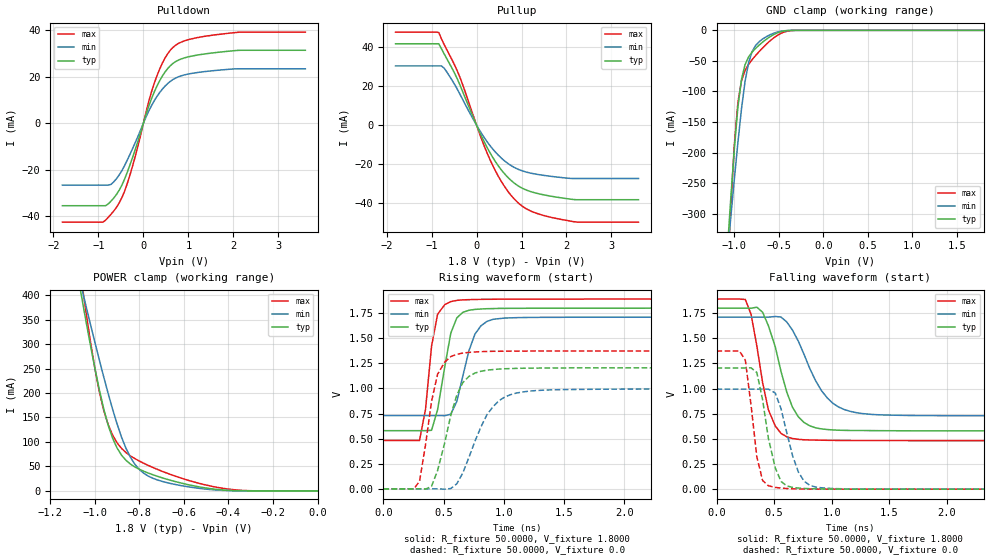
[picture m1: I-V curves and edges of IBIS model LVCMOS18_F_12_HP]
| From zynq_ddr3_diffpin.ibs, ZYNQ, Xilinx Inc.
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[Model]  LVCMOS18_F_12_HP
Model_type I/O
Polarity   Non-Inverting
Enable   Active-Low
Vinl =   0.5400V
Vinh =   1.2600V
Vmeas =  0.9000V
Cref =   0.0F
Rref =   1.0000M
Vref =   0.0V
C_comp   4.6671pF   4.6649pF   4.6673pF
[Temperature Range]   25.0000   85.0000   0.0
[Voltage Range]   1.8000V   1.7100V   1.8900V
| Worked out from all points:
|   slope of the pulldown table from 0 to 0.27 V, typ, clamps not added: 18.4 ohm
|   slope of the pullup table from 0 to 0.27 V, typ, clamps not added: 20.9 ohm
|   GND clamp passes 1 mA (typ) near -0.44 V on its own axis
|   POWER clamp passes 1 mA (typ) near -0.39 V on its own axis
|   rising waveform, R_fixture 50.0000, V_fixture 1.8000: 20-80 % time 107ps typ, 131ps min, 84.1ps max; typ from 0.579 V to 1.8 V
|   rising waveform, R_fixture 50.0000, V_fixture 0.0: 20-80 % time 159ps typ, 223ps min, 115ps max; typ from 0 V to 1.21 V
|   falling waveform, R_fixture 50.0000, V_fixture 1.8000: 20-80 % time 187ps typ, 258ps min, 139ps max; typ from 1.8 V to 0.58 V
|   falling waveform, R_fixture 50.0000, V_fixture 0.0: 20-80 % time 118ps typ, 141ps min, 89.2ps max; typ from 1.21 V to 0 V
[Pulldown]
|Voltage   I(typ)   I(min)   I(max)
-1.8V     -35.56mA   -26.67mA   -42.66mA
-900mV    -35.56mA   -26.67mA   -42.66mA
-720mV    -33.58mA   -26.37mA   -39.24mA
-600mV    -30.74mA   -23.95mA   -36.28mA
-420mV    -24.17mA   -18.34mA   -29.41mA
-300mV    -18.03mA   -13.48mA   -22.39mA
120mV     7.367mA    5.274mA    9.446mA
300mV     15.97mA    11.5mA     20.39mA
480mV     22.05mA    15.97mA    28.07mA
720mV     26.6mA     19.51mA    33.67mA
2.04V     31.3mA     23.43mA    39.07mA
3.6V      31.44mA    23.46mA    39.28mA
[Pullup]
|Voltage   I(typ)   I(min)   I(max)
-1.8V     41.61mA    30.27mA    47.58mA
-840mV    41.61mA    30.27mA    47.38mA
-720mV    36.44mA    29.13mA    41.24mA
-480mV    26.18mA    20.54mA    30.36mA
-360mV    20.05mA    15.42mA    23.93mA
60mV      -3.173mA   -2.359mA   -3.945mA
360mV     -16.5mA    -12.21mA   -20.65mA
660mV     -25.85mA   -18.98mA   -32.67mA
960mV     -31.57mA   -22.93mA   -40.45mA
1.38V     -35.1mA    -25.31mA   -45.47mA
2.16V     -38.07mA   -27.32mA   -49.39mA
3.6V      -38.16mA   -27.32mA   -49.66mA
[GND_clamp]
|Voltage   I(typ)   I(min)   I(max)
-1.8V     -2.044A    -1.568A    -2.731A
-1.08V    -362.4mA   -370mA     -405mA
-1.04V    -275.1mA   -306.1mA   -288.6mA
-1V       -193.7mA   -243.5mA   -187.2mA
-960mV    -125.4mA   -183.6mA   -118mA
-920mV    -80.44mA   -128.7mA   -82.86mA
-880mV    -56.14mA   -83.83mA   -65.61mA
-840mV    -43.44mA   -52.9mA    -55.56mA
-800mV    -35.55mA   -34.61mA   -47.87mA
-640mV    -14.49mA   -10.34mA   -22.61mA
-360mV    -119.3uA   -111.7uA   -418.9uA
1.8V      6.375nA    187.2nA    -1.279nA
[POWER_clamp]
|Voltage   I(typ)   I(min)   I(max)
-1.8V     2.444A     1.892A     3.159A
-1.06V    398.4mA    416.5mA    431mA
-1.04V    347.6mA    378.5mA    366.7mA
-1V       251.3mA    304.2mA    251mA
-960mV    167.6mA    232.9mA    164.5mA
-940mV    134.1mA    198.9mA    135.4mA
-900mV    87.61mA    136.8mA    98.22mA
-840mV    54.8mA     68.72mA    71.62mA
-760mV    36.51mA    30.31mA    52.09mA
-620mV    16.94mA    11.51mA    27.34mA
-380mV    717.8uA    441.4uA    2.659mA
0V        6.375nA    63.37nA    7.22nA
[Ramp]
| variable   typ   min   max
dV/dt_r  0.7230/0.1516n   0.5969/0.2235n   0.8238/0.1146n
dV/dt_f  0.7323/0.1800n   0.5881/0.2578n   0.8446/0.1374n
R_load = 50.0000
[Rising Waveform]
R_fixture= 50.0000
V_fixture= 1.8000
V_fixture_min= 1.7100
V_fixture_max= 1.8900
|time   V(typ)   V(min)   V(max)
0s        579.4mV    729.9mV    482.3mV
300ps     579.4mV    729.9mV    481.8mV
350ps     579.6mV    729.9mV    792.2mV
400ps     583mV      729.9mV    1.421V
450ps     787.2mV    730mV      1.738V
560ps     1.551V     743.1mV    1.865V
610ps     1.703V     870.8mV    1.877V
760ps     1.787V     1.54V      1.886V
910ps     1.795V     1.688V     1.888V
3.33ns    1.8V       1.71V      1.89V
[Rising Waveform]
R_fixture= 50.0000
V_fixture= 0.0
|time   V(typ)   V(min)   V(max)
0s        0V         0V         0V
250ps     0V         0V         -2.952mV
300ps     179uV      0V         73.42mV
400ps     25.96mV    0V         872.1mV
450ps     182.2mV    0V         1.141V
610ps     934mV      50.67mV    1.34V
710ps     1.119V     311.6mV    1.359V
860ps     1.182V     738mV      1.368V
1.11ns    1.2V       955.3mV    1.372V
4.44ns    1.205V     994.9mV    1.373V
[Falling Waveform]
R_fixture= 50.0000
V_fixture= 1.8000
V_fixture_min= 1.7100
V_fixture_max= 1.8900
|time   V(typ)   V(min)   V(max)
0s        1.8V       1.71V      1.89V
250ps     1.8V       1.71V      1.886V
300ps     1.799V     1.71V      1.738V
400ps     1.759V     1.71V      1.059V
450ps     1.626V     1.71V      789.8mV
610ps     964.7mV    1.662V     519.9mV
760ps     662.7mV    1.339V     490.9mV
910ps     599.3mV    981.6mV    486.9mV
1.11ns    584.7mV    791.2mV    483.9mV
3.08ns    579.5mV    729.9mV    482.4mV
[Falling Waveform]
R_fixture= 50.0000
V_fixture= 0.0
|time   V(typ)   V(min)   V(max)
0s        1.205V     995mV      1.373V
200ps     1.205V     995mV      1.373V
250ps     1.205V     995mV      1.283V
350ps     1.16V      995mV      319.3mV
400ps     888.7mV    995mV      86.49mV
450ps     506.9mV    995.2mV    33.7mV
560ps     76.66mV    800mV      10.51mV
710ps     11.32mV    171.8mV    2.297mV
810ps     4.615mV    37.86mV    979.4uV
2.63ns    0V         0V         0V
